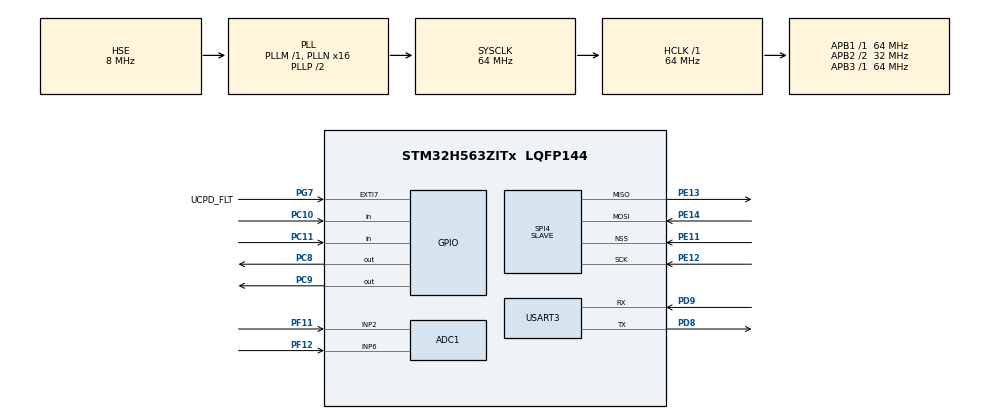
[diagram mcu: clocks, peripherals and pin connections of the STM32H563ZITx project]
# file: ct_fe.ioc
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ADC1.Channel-0\#ChannelRegularConversion=ADC_CHANNEL_2
ADC1.MonitoredBy-0\#ChannelRegularConversion=__NULL
ADC1.NbrOfConversionFlag=1
ADC1.OffsetNumber-0\#ChannelRegularConversion=ADC_OFFSET_NONE
ADC1.Rank-0\#ChannelRegularConversion=1
ADC1.SamplingTime-0\#ChannelRegularConversion=ADC_SAMPLETIME_2CYCLES_5
ADC1.master=1
BOOTPATH.BootPathName=LEGACY
BOOTPATH.UserSelectedBootPath=LEGACY
CORTEX_M33_NS.userName=CORTEX_M33
Mcu.Family=STM32H5
Mcu.Name=STM32H563ZITx
Mcu.Package=LQFP144
NVIC.PriorityGroup=NVIC_PRIORITYGROUP_4
NVIC.SPI4_IRQn=true\:0\:0\:false\:false\:true\:false\:true\:true\:true
NVIC.TIM12_IRQn=true\:15\:0\:false\:false\:true\:false\:false\:true\:true
NVIC.TimeBase=TIM12_IRQn
NVIC.TimeBaseIP=TIM12
NVIC.USART3_IRQn=true\:0\:0\:false\:false\:true\:false\:true\:true\:true
PA1.GPIO_Label=RMII_REF_CLK
PA1.GPIO_Mode=GPIO_MODE_AF_PP
PA1.GPIO_PuPd=GPIO_NOPULL
PA1.GPIO_Speed=GPIO_SPEED_FREQ_LOW
PA1.Signal=ETH_REF_CLK
PA11.GPIO_Label=USB_FS_N
PA11.Signal=USB_DM
PA12.GPIO_Label=USB_FS_P
PA12.Signal=USB_DP
PA13(JTMS/SWDIO).GPIO_Label=SWDIO
PA13(JTMS/SWDIO).Signal=DEBUG_JTMS-SWDIO
PA14(JTCK/SWCLK).GPIO_Label=SWCLK
PA14(JTCK/SWCLK).Signal=DEBUG_JTCK-SWCLK
PA15(JTDI).GPIO_Label=T_JTDI
PA15(JTDI).Signal=DEBUG_JTDI
PA2.GPIO_Label=RMII_MDIO
PA2.GPIO_Mode=GPIO_MODE_AF_PP
PA2.GPIO_PuPd=GPIO_NOPULL
PA2.GPIO_Speed=GPIO_SPEED_FREQ_LOW
PA2.Signal=ETH_MDIO
PA4.GPIO_Label=VBUS_SENSE
PA4.Signal=ADCx_INP18
PA7.GPIO_Label=RMII_CRS_DV
PA7.GPIO_Mode=GPIO_MODE_AF_PP
PA7.GPIO_PuPd=GPIO_NOPULL
PA7.GPIO_Speed=GPIO_SPEED_FREQ_LOW
PA7.Signal=ETH_CRS_DV
PA9.GPIO_Label=UCDP_DBn
PA9.Signal=UCPD1_DB1
PB13.GPIO_Label=UCPD_CC1
PB13.Signal=UCPD1_CC1
PB14.GPIO_Label=UCPD_CC2
PB14.Signal=UCPD1_CC2
PB15.GPIO_Label=RMII_TXD1
PB15.GPIO_Mode=GPIO_MODE_AF_PP
PB15.GPIO_PuPd=GPIO_NOPULL
PB15.GPIO_Speed=GPIO_SPEED_FREQ_LOW
PB15.Signal=ETH_TXD1
PB3(JTDO/TRACESWO).GPIO_Label=SWO
PB3(JTDO/TRACESWO).Signal=DEBUG_JTDO-SWO
PB6.GPIO_Label=ARD_D1_TX
PB6.Signal=LPUART1_TX
PB7.GPIO_Label=ARD_D0_RX
PB7.Signal=LPUART1_RX
PC1.GPIO_Label=RMII_MDC
PC1.GPIO_Mode=GPIO_MODE_AF_PP
PC1.GPIO_PuPd=GPIO_NOPULL
PC1.GPIO_Speed=GPIO_SPEED_FREQ_LOW
PC1.Signal=ETH_MDC
PC10.Signal=GPIO_Input
PC11.Signal=GPIO_Input
PC14-OSC32_IN(OSC32_IN).Mode=LSE-External-Oscillator
PC14-OSC32_IN(OSC32_IN).Signal=RCC_OSC32_IN
PC15-OSC32_OUT(OSC32_OUT).Mode=LSE-External-Oscillator
PC15-OSC32_OUT(OSC32_OUT).Signal=RCC_OSC32_OUT
PC4.GPIO_Label=RMII_RXD0
PC4.GPIO_Mode=GPIO_MODE_AF_PP
PC4.GPIO_PuPd=GPIO_NOPULL
PC4.GPIO_Speed=GPIO_SPEED_FREQ_LOW
PC4.Signal=ETH_RXD0
PC5.GPIO_Label=RMII_RXD1
PC5.GPIO_Mode=GPIO_MODE_AF_PP
PC5.GPIO_PuPd=GPIO_NOPULL
PC5.GPIO_Speed=GPIO_SPEED_FREQ_LOW
PC5.Signal=ETH_RXD1
PC8.Signal=GPIO_Output
PC9.Signal=GPIO_Output
PD8.Mode=Asynchronous
PD8.Signal=USART3_TX
PD9.Mode=Asynchronous
PD9.Signal=USART3_RX
PE11.GPIO_PuPd=GPIO_PULLUP
PE11.Mode=NSS_Signal_Hard_Input
PE11.Signal=SPI4_NSS
PE12.Mode=Full_Duplex_Slave
PE12.Signal=SPI4_SCK
PE13.Mode=Full_Duplex_Slave
PE13.Signal=SPI4_MISO
PE14.Mode=Full_Duplex_Slave
PE14.Signal=SPI4_MOSI
PE2.GPIO_Label=TRACE_CK
PE2.Signal=DEBUG_TRACECLK
PE3.GPIO_Label=TRACE_D0
PE3.Signal=DEBUG_TRACED0
PE4.GPIO_Label=TRACE_D1
PE4.Signal=DEBUG_TRACED1
PE5.GPIO_Label=TRACE_D2
PE5.Signal=DEBUG_TRACED2
PE6.GPIO_Label=TRACE_D3
PE6.Signal=DEBUG_TRACED3
PF11.Mode=IN2-Single-Ended
PF11.Signal=ADC1_INP2
PF12.Mode=IN6-Single-Ended
PF12.Signal=ADC1_INP6
PG11.GPIO_Label=RMII_TXT_EN
PG11.GPIO_Mode=GPIO_MODE_AF_PP
PG11.GPIO_PuPd=GPIO_NOPULL
PG11.GPIO_Speed=GPIO_SPEED_FREQ_LOW
PG11.Signal=ETH_TX_EN
PG13.GPIO_Label=RMI_TXD0
PG13.GPIO_Mode=GPIO_MODE_AF_PP
PG13.GPIO_PuPd=GPIO_NOPULL
PG13.GPIO_Speed=GPIO_SPEED_FREQ_LOW
PG13.Signal=ETH_TXD0
PG7.GPIO_Label=UCPD_FLT
PG7.Signal=GPXTI7
PH0-OSC_IN(PH0).GPIO_Label=STLK_MCO
PH0-OSC_IN(PH0).Mode=HSE-External-Clock-Source
PH0-OSC_IN(PH0).Signal=RCC_OSC_IN
ProjectManager.HeapSize=0x1000
ProjectManager.StackSize=0x1000
ProjectManager.TargetToolchain=STM32CubeIDE
RCC.ADCFreq_Value=64000000
RCC.AHBFreq_Value=64000000
RCC.APB1Freq_Value=64000000
RCC.APB1TimFreq_Value=64000000
RCC.APB2CLKDivider=RCC_HCLK_DIV2
RCC.APB2Freq_Value=32000000
RCC.APB2TimFreq_Value=64000000
RCC.APB3Freq_Value=64000000
RCC.CSI_VALUE=4000000
RCC.CortexFreq_Value=64000000
RCC.EPOD_VALUE=8000000
RCC.HCLKFreq_Value=64000000
RCC.HSE_VALUE=8000000
RCC.HSI48_VALUE=48000000
RCC.HSIDiv=RCC_HSI_DIV1
RCC.HSI_VALUE=64000000
RCC.LSIRC_VALUE=32000
RCC.PLLFRACN=0
RCC.PLLN=16
RCC.PLLSourceVirtual=RCC_PLL1_SOURCE_HSE
RCC.SYSCLKFreq_VALUE=64000000
RCC.SYSCLKSource=RCC_SYSCLKSOURCE_PLLCLK
RCC.USBFreq_Value=48000000
RCC.VCOOutputFreq_Value=128000000
SH.ADCx_INP18.0=ADC1_INP18
SPI4.DataSize=SPI_DATASIZE_8BIT
SPI4.Direction=SPI_DIRECTION_2LINES
SPI4.Mode=SPI_MODE_SLAVE
SPI4.VirtualNSS=VM_NSSHARD
SPI4.VirtualType=VM_SLAVE
USART3.VirtualMode-Asynchronous=VM_ASYNC
VP_BOOTPATH_VS_BOOTPATH.Mode=BP_Activate
VP_CORTEX_M33_NS_VS_Hclk.Mode=Hclk_Mode
VP_DCACHE1_VS_DCACHE.Mode=DCACHE_Activate
VP_ICACHE_VS_ICACHE.Mode=DirectMappedCache
VP_IWDG_VS_IWDG.Mode=IWDG_Activate
VP_MEMORYMAP_VS_MEMORYMAP.Mode=CurAppReg
VP_PWR_VS_DBSignals.Mode=DisableDeadBatterySignals
VP_PWR_VS_LPOM.Mode=PowerOptimisation
VP_PWR_VS_SECSignals.Mode=Security/Privilege
VP_SYS_VS_tim12.Mode=TIM12
VP_THREADX_VS_RTOSJjThreadXJjCoreJjDefault.Mode=Core_Default
board=NUCLEO-H563ZI

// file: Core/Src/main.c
/* USER CODE BEGIN Header */
/**
  ******************************************************************************
  * @file           : main.c
  * @brief          : Main program body
  ******************************************************************************
  * @attention
  *
  * Copyright (c) 2026 STMicroelectronics.
  * All rights reserved.
  *
  * This software is licensed under terms that can be found in the LICENSE file
  * in the root directory of this software component.
  * If no LICENSE file comes with this software, it is provided AS-IS.
  *
  ******************************************************************************
  */
/* USER CODE END Header */
#include "app_threadx.h"
#include "main.h"

/* USER CODE BEGIN Includes */
#include <stdio.h>
#include "stm32h5xx_nucleo.h"
#include "spi_regs.h"
#include "gpio_channels.h"
/* USER CODE END Includes */

ADC_HandleTypeDef hadc1;

DCACHE_HandleTypeDef hdcache1;

IWDG_HandleTypeDef hiwdg;

SPI_HandleTypeDef hspi4;

UART_HandleTypeDef huart3;

void SystemClock_Config(void);
static void MX_GPIO_Init(void);
static void MX_USART3_UART_Init(void);
static void MX_DCACHE1_Init(void);
static void MX_ICACHE_Init(void);
static void MX_IWDG_Init(void);
static void MX_SPI4_Init(void);
static void MX_ADC1_Init(void);

/* USER CODE BEGIN 0 */
// support printf
#ifdef __GNUC__
  /* With GCC/RAISONANCE, small printf (option LD Linker->Libraries->Small printf) calls __io_putchar() */
  #define PUTCHAR_PROTOTYPE int __io_putchar(int ch)
#else
  #define PUTCHAR_PROTOTYPE int fputc(int ch, FILE *f)
#endif /* __GNUC__ */

PUTCHAR_PROTOTYPE
{
    HAL_UART_Transmit(&huart3, (uint8_t *)&ch, 1, HAL_MAX_DELAY);
    return ch;
}

void print_reset_reason(void)
{
    uint32_t rsr = RCC->RSR;

    printf("\r\n===== RESET REASON: 0x%08lX =====\r\n", rsr);

    if (rsr & RCC_RSR_WWDGRSTF) printf("Window Watchdog Reset\r\n");
    if (rsr & RCC_RSR_IWDGRSTF) printf("Independent Watchdog Reset\r\n");
    if (rsr & RCC_RSR_SFTRSTF)  printf("Software Reset\r\n");
    if (rsr & RCC_RSR_BORRSTF)  printf("Power/Brown-Out Reset\r\n");
    if (rsr & RCC_RSR_PINRSTF)  printf("Pin Reset (NRST)\r\n");
    if (rsr & RCC_RSR_LPWRRSTF) printf("Low-Power Reset\r\n");

    __HAL_RCC_CLEAR_RESET_FLAGS();
}

/* USER CODE END 0 */

int main(void)
{

  /* MCU Configuration--------------------------------------------------------*/

  /* Reset of all peripherals, Initializes the Flash interface and the Systick. */
  HAL_Init();

  /* Configure the system clock */
  SystemClock_Config();

  /* Initialize all configured peripherals */
  MX_GPIO_Init();
  MX_USART3_UART_Init();
  MX_DCACHE1_Init();
  MX_ICACHE_Init();
  MX_IWDG_Init();
  MX_SPI4_Init();
  MX_ADC1_Init();
  /* USER CODE BEGIN 2 */

  printf("\r\n===== MCU BOOT =====\r\n");
  print_reset_reason();

  /* Initialize SPI4 slave register map */
  SpiRegs_Init();

  /* Initialize 32 channel P/N GPIO pairs (64 GPIOs) */
// I will do the init in ioc file later on  GpioChannels_Init();

  /* Initialize leds */
  BSP_LED_Init(LED_GREEN);
  BSP_LED_Init(LED_YELLOW);
  BSP_LED_Init(LED_RED);

  /* USER CODE END 2 */

  MX_ThreadX_Init();

  /* We should never get here as control is now taken by the scheduler */

  /* Infinite loop */
  /* USER CODE BEGIN WHILE */
  while (1)
  {
#if 0
    /* -- Sample board code for User push-button in interrupt mode ---- */
    if (BspButtonState == BUTTON_PRESSED)
    {
      /* Update button state */
      BspButtonState = BUTTON_RELEASED;
      /* -- Sample board code to toggle leds ---- */
      BSP_LED_Toggle(LED_GREEN);
      BSP_LED_Toggle(LED_YELLOW);
      BSP_LED_Toggle(LED_RED);
      /* ..... Perform your action ..... */
    }
#endif
    /* USER CODE END WHILE */

  }
}

void SystemClock_Config(void)
{
  RCC_OscInitTypeDef RCC_OscInitStruct = {0};
  RCC_ClkInitTypeDef RCC_ClkInitStruct = {0};

  /** Configure the main internal regulator output voltage
  */
  __HAL_PWR_VOLTAGESCALING_CONFIG(PWR_REGULATOR_VOLTAGE_SCALE3);

  while(!__HAL_PWR_GET_FLAG(PWR_FLAG_VOSRDY)) {}

  /** Initializes the RCC Oscillators according to the specified parameters
  * in the RCC_OscInitTypeDef structure.
  */
  RCC_OscInitStruct.OscillatorType = RCC_OSCILLATORTYPE_LSI|RCC_OSCILLATORTYPE_HSE;
  RCC_OscInitStruct.HSEState = RCC_HSE_BYPASS;
  RCC_OscInitStruct.LSIState = RCC_LSI_ON;
  RCC_OscInitStruct.PLL.PLLState = RCC_PLL_ON;
  RCC_OscInitStruct.PLL.PLLSource = RCC_PLL1_SOURCE_HSE;
  RCC_OscInitStruct.PLL.PLLM = 1;
  RCC_OscInitStruct.PLL.PLLN = 16;
  RCC_OscInitStruct.PLL.PLLP = 2;
  RCC_OscInitStruct.PLL.PLLQ = 2;
  RCC_OscInitStruct.PLL.PLLR = 2;
  RCC_OscInitStruct.PLL.PLLRGE = RCC_PLL1_VCIRANGE_3;
  RCC_OscInitStruct.PLL.PLLVCOSEL = RCC_PLL1_VCORANGE_WIDE;
  RCC_OscInitStruct.PLL.PLLFRACN = 0;
  if (HAL_RCC_OscConfig(&RCC_OscInitStruct) != HAL_OK)
  {
    Error_Handler();
  }

  /** Initializes the CPU, AHB and APB buses clocks
  */
  RCC_ClkInitStruct.ClockType = RCC_CLOCKTYPE_HCLK|RCC_CLOCKTYPE_SYSCLK
                              |RCC_CLOCKTYPE_PCLK1|RCC_CLOCKTYPE_PCLK2
                              |RCC_CLOCKTYPE_PCLK3;
  RCC_ClkInitStruct.SYSCLKSource = RCC_SYSCLKSOURCE_PLLCLK;
  RCC_ClkInitStruct.AHBCLKDivider = RCC_SYSCLK_DIV1;
  RCC_ClkInitStruct.APB1CLKDivider = RCC_HCLK_DIV1;
  RCC_ClkInitStruct.APB2CLKDivider = RCC_HCLK_DIV2;
  RCC_ClkInitStruct.APB3CLKDivider = RCC_HCLK_DIV1;

  if (HAL_RCC_ClockConfig(&RCC_ClkInitStruct, FLASH_LATENCY_3) != HAL_OK)
  {
    Error_Handler();
  }

  /** Configure the programming delay
  */
  __HAL_FLASH_SET_PROGRAM_DELAY(FLASH_PROGRAMMING_DELAY_1);
}

static void MX_ADC1_Init(void)
{

  ADC_ChannelConfTypeDef sConfig = {0};

  /** Common config
  */
  hadc1.Instance = ADC1;
  hadc1.Init.ClockPrescaler = ADC_CLOCK_ASYNC_DIV1;
  hadc1.Init.Resolution = ADC_RESOLUTION_12B;
  hadc1.Init.DataAlign = ADC_DATAALIGN_RIGHT;
  hadc1.Init.ScanConvMode = ADC_SCAN_DISABLE;
  hadc1.Init.EOCSelection = ADC_EOC_SINGLE_CONV;
  hadc1.Init.LowPowerAutoWait = DISABLE;
  hadc1.Init.ContinuousConvMode = DISABLE;
  hadc1.Init.NbrOfConversion = 1;
  hadc1.Init.DiscontinuousConvMode = DISABLE;
  hadc1.Init.ExternalTrigConv = ADC_SOFTWARE_START;
  hadc1.Init.ExternalTrigConvEdge = ADC_EXTERNALTRIGCONVEDGE_NONE;
  hadc1.Init.DMAContinuousRequests = DISABLE;
  hadc1.Init.SamplingMode = ADC_SAMPLING_MODE_NORMAL;
  hadc1.Init.Overrun = ADC_OVR_DATA_PRESERVED;
  hadc1.Init.OversamplingMode = DISABLE;
  if (HAL_ADC_Init(&hadc1) != HAL_OK)
  {
    Error_Handler();
  }

  /** Configure Regular Channel
  */
  sConfig.Channel = ADC_CHANNEL_2;
  sConfig.Rank = ADC_REGULAR_RANK_1;
  sConfig.SamplingTime = ADC_SAMPLETIME_2CYCLES_5;
  sConfig.SingleDiff = ADC_SINGLE_ENDED;
  sConfig.OffsetNumber = ADC_OFFSET_NONE;
  sConfig.Offset = 0;
  if (HAL_ADC_ConfigChannel(&hadc1, &sConfig) != HAL_OK)
  {
    Error_Handler();
  }

}

static void MX_DCACHE1_Init(void)
{

  hdcache1.Instance = DCACHE1;
  hdcache1.Init.ReadBurstType = DCACHE_READ_BURST_WRAP;
  if (HAL_DCACHE_Init(&hdcache1) != HAL_OK)
  {
    Error_Handler();
  }

}

static void MX_ICACHE_Init(void)
{

  /** Enable instruction cache in 1-way (direct mapped cache)
  */
  if (HAL_ICACHE_ConfigAssociativityMode(ICACHE_1WAY) != HAL_OK)
  {
    Error_Handler();
  }
  if (HAL_ICACHE_Enable() != HAL_OK)
  {
    Error_Handler();
  }

}

static void MX_IWDG_Init(void)
{

  /* USER CODE BEGIN IWDG_Init 0 */
  return; // disable watchdog for testing...............TBD later
  /* USER CODE END IWDG_Init 0 */

  hiwdg.Instance = IWDG;
  hiwdg.Init.Prescaler = IWDG_PRESCALER_4;
  hiwdg.Init.Window = 4095;
  hiwdg.Init.Reload = 4095;
  hiwdg.Init.EWI = 0;
  if (HAL_IWDG_Init(&hiwdg) != HAL_OK)
  {
    Error_Handler();
  }

}

static void MX_SPI4_Init(void)
{

  /* SPI4 parameter configuration*/
  hspi4.Instance = SPI4;
  hspi4.Init.Mode = SPI_MODE_SLAVE;
  hspi4.Init.Direction = SPI_DIRECTION_2LINES;
  hspi4.Init.DataSize = SPI_DATASIZE_8BIT;
  hspi4.Init.CLKPolarity = SPI_POLARITY_LOW;
  hspi4.Init.CLKPhase = SPI_PHASE_1EDGE;
  hspi4.Init.NSS = SPI_NSS_HARD_INPUT;
  hspi4.Init.FirstBit = SPI_FIRSTBIT_MSB;
  hspi4.Init.TIMode = SPI_TIMODE_DISABLE;
  hspi4.Init.CRCCalculation = SPI_CRCCALCULATION_DISABLE;
  hspi4.Init.CRCPolynomial = 0x7;
  hspi4.Init.NSSPMode = SPI_NSS_PULSE_DISABLE;
  hspi4.Init.NSSPolarity = SPI_NSS_POLARITY_LOW;
  hspi4.Init.FifoThreshold = SPI_FIFO_THRESHOLD_01DATA;
  hspi4.Init.MasterSSIdleness = SPI_MASTER_SS_IDLENESS_00CYCLE;
  hspi4.Init.MasterInterDataIdleness = SPI_MASTER_INTERDATA_IDLENESS_00CYCLE;
  hspi4.Init.MasterReceiverAutoSusp = SPI_MASTER_RX_AUTOSUSP_DISABLE;
  hspi4.Init.MasterKeepIOState = SPI_MASTER_KEEP_IO_STATE_DISABLE;
  hspi4.Init.IOSwap = SPI_IO_SWAP_DISABLE;
  hspi4.Init.ReadyMasterManagement = SPI_RDY_MASTER_MANAGEMENT_INTERNALLY;
  hspi4.Init.ReadyPolarity = SPI_RDY_POLARITY_HIGH;
  if (HAL_SPI_Init(&hspi4) != HAL_OK)
  {
    Error_Handler();
  }

}

static void MX_USART3_UART_Init(void)
{

  huart3.Instance = USART3;
  huart3.Init.BaudRate = 115200;
  huart3.Init.WordLength = UART_WORDLENGTH_8B;
  huart3.Init.StopBits = UART_STOPBITS_1;
  huart3.Init.Parity = UART_PARITY_NONE;
  huart3.Init.Mode = UART_MODE_TX_RX;
  huart3.Init.HwFlowCtl = UART_HWCONTROL_NONE;
  huart3.Init.OverSampling = UART_OVERSAMPLING_16;
  huart3.Init.OneBitSampling = UART_ONE_BIT_SAMPLE_DISABLE;
  huart3.Init.ClockPrescaler = UART_PRESCALER_DIV1;
  huart3.AdvancedInit.AdvFeatureInit = UART_ADVFEATURE_NO_INIT;
  if (HAL_UART_Init(&huart3) != HAL_OK)
  {
    Error_Handler();
  }
  if (HAL_UARTEx_SetTxFifoThreshold(&huart3, UART_TXFIFO_THRESHOLD_1_8) != HAL_OK)
  {
    Error_Handler();
  }
  if (HAL_UARTEx_SetRxFifoThreshold(&huart3, UART_RXFIFO_THRESHOLD_1_8) != HAL_OK)
  {
    Error_Handler();
  }
  if (HAL_UARTEx_DisableFifoMode(&huart3) != HAL_OK)
  {
    Error_Handler();
  }

}

static void MX_GPIO_Init(void)
{
  GPIO_InitTypeDef GPIO_InitStruct = {0};

  /* GPIO Ports Clock Enable */
  __HAL_RCC_GPIOE_CLK_ENABLE();
  __HAL_RCC_GPIOC_CLK_ENABLE();
  __HAL_RCC_GPIOH_CLK_ENABLE();
  __HAL_RCC_GPIOA_CLK_ENABLE();
  __HAL_RCC_GPIOF_CLK_ENABLE();
  __HAL_RCC_GPIOB_CLK_ENABLE();
  __HAL_RCC_GPIOD_CLK_ENABLE();
  __HAL_RCC_GPIOG_CLK_ENABLE();

  /*Configure GPIO pin Output Level */
  HAL_GPIO_WritePin(GPIOC, GPIO_PIN_8|GPIO_PIN_9, GPIO_PIN_RESET);

  /*Configure GPIO pins : RMII_MDC_Pin RMII_RXD0_Pin RMII_RXD1_Pin */
  GPIO_InitStruct.Pin = RMII_MDC_Pin|RMII_RXD0_Pin|RMII_RXD1_Pin;
  GPIO_InitStruct.Mode = GPIO_MODE_AF_PP;
  GPIO_InitStruct.Pull = GPIO_NOPULL;
  GPIO_InitStruct.Speed = GPIO_SPEED_FREQ_HIGH;
  GPIO_InitStruct.Alternate = GPIO_AF11_ETH;
  HAL_GPIO_Init(GPIOC, &GPIO_InitStruct);

  /*Configure GPIO pins : RMII_REF_CLK_Pin RMII_MDIO_Pin RMII_CRS_DV_Pin */
  GPIO_InitStruct.Pin = RMII_REF_CLK_Pin|RMII_MDIO_Pin|RMII_CRS_DV_Pin;
  GPIO_InitStruct.Mode = GPIO_MODE_AF_PP;
  GPIO_InitStruct.Pull = GPIO_NOPULL;
  GPIO_InitStruct.Speed = GPIO_SPEED_FREQ_HIGH;
  GPIO_InitStruct.Alternate = GPIO_AF11_ETH;
  HAL_GPIO_Init(GPIOA, &GPIO_InitStruct);

  /*Configure GPIO pins : UCPD_CC1_Pin UCPD_CC2_Pin */
  GPIO_InitStruct.Pin = UCPD_CC1_Pin|UCPD_CC2_Pin;
  GPIO_InitStruct.Mode = GPIO_MODE_ANALOG;
  GPIO_InitStruct.Pull = GPIO_NOPULL;
  HAL_GPIO_Init(GPIOB, &GPIO_InitStruct);

  /*Configure GPIO pin : RMII_TXD1_Pin */
  GPIO_InitStruct.Pin = RMII_TXD1_Pin;
  GPIO_InitStruct.Mode = GPIO_MODE_AF_PP;
  GPIO_InitStruct.Pull = GPIO_NOPULL;
  GPIO_InitStruct.Speed = GPIO_SPEED_FREQ_HIGH;
  GPIO_InitStruct.Alternate = GPIO_AF11_ETH;
  HAL_GPIO_Init(RMII_TXD1_GPIO_Port, &GPIO_InitStruct);

  /*Configure GPIO pin : UCPD_FLT_Pin */
  GPIO_InitStruct.Pin = UCPD_FLT_Pin;
  GPIO_InitStruct.Mode = GPIO_MODE_IT_RISING;
  GPIO_InitStruct.Pull = GPIO_NOPULL;
  HAL_GPIO_Init(UCPD_FLT_GPIO_Port, &GPIO_InitStruct);

  /*Configure GPIO pins : PC8 PC9 */
  GPIO_InitStruct.Pin = GPIO_PIN_8|GPIO_PIN_9;
  GPIO_InitStruct.Mode = GPIO_MODE_OUTPUT_PP;
  GPIO_InitStruct.Pull = GPIO_NOPULL;
  GPIO_InitStruct.Speed = GPIO_SPEED_FREQ_LOW;
  HAL_GPIO_Init(GPIOC, &GPIO_InitStruct);

  /*Configure GPIO pins : USB_FS_N_Pin USB_FS_P_Pin */
  GPIO_InitStruct.Pin = USB_FS_N_Pin|USB_FS_P_Pin;
  GPIO_InitStruct.Mode = GPIO_MODE_AF_PP;
  GPIO_InitStruct.Pull = GPIO_NOPULL;
  GPIO_InitStruct.Speed = GPIO_SPEED_FREQ_LOW;
  GPIO_InitStruct.Alternate = GPIO_AF10_USB;
  HAL_GPIO_Init(GPIOA, &GPIO_InitStruct);

  /*Configure GPIO pins : PC10 PC11 */
  GPIO_InitStruct.Pin = GPIO_PIN_10|GPIO_PIN_11;
  GPIO_InitStruct.Mode = GPIO_MODE_INPUT;
  GPIO_InitStruct.Pull = GPIO_NOPULL;
  HAL_GPIO_Init(GPIOC, &GPIO_InitStruct);

  /*Configure GPIO pins : RMII_TXT_EN_Pin RMI_TXD0_Pin */
  GPIO_InitStruct.Pin = RMII_TXT_EN_Pin|RMI_TXD0_Pin;
  GPIO_InitStruct.Mode = GPIO_MODE_AF_PP;
  GPIO_InitStruct.Pull = GPIO_NOPULL;
  GPIO_InitStruct.Speed = GPIO_SPEED_FREQ_HIGH;
  GPIO_InitStruct.Alternate = GPIO_AF11_ETH;
  HAL_GPIO_Init(GPIOG, &GPIO_InitStruct);

  /*Configure GPIO pins : ARD_D1_TX_Pin ARD_D0_RX_Pin */
  GPIO_InitStruct.Pin = ARD_D1_TX_Pin|ARD_D0_RX_Pin;
  GPIO_InitStruct.Mode = GPIO_MODE_AF_PP;
  GPIO_InitStruct.Pull = GPIO_NOPULL;
  GPIO_InitStruct.Speed = GPIO_SPEED_FREQ_LOW;
  GPIO_InitStruct.Alternate = GPIO_AF8_LPUART1;
  HAL_GPIO_Init(GPIOB, &GPIO_InitStruct);

}

/* USER CODE BEGIN 4 */

void StartWDTask(ULONG argument)
{
    uint8_t led_state = 0; // 0=green, 1=yellow, 2=red

    for (;;)
    {
        // TBD replace the LED off and on with the APIs gpio_led1_on, gpio_led1_off for our HW

        // Turn off all LEDs
        BSP_LED_Off(LED_GREEN);
        BSP_LED_Off(LED_YELLOW);
        BSP_LED_Off(LED_RED);

        // Turn on the current LED based on state
        switch(led_state)
        {
            case 0:
                BSP_LED_On(LED_GREEN);
                break;
            case 1:
                BSP_LED_On(LED_YELLOW);
                break;
            case 2:
                BSP_LED_On(LED_RED);
                break;
        }

        // Move to next LED in sequence
        led_state = (led_state + 1) % 3;

        // Refresh the independent watchdog
//        HAL_IWDG_Refresh(&hiwdg);

        // Wait 500ms before switching
        tx_thread_sleep(50);
    }
}

/* USER CODE END 4 */

void HAL_TIM_PeriodElapsedCallback(TIM_HandleTypeDef *htim)
{
  if (htim->Instance == TIM12)
  {
    HAL_IncTick();
  }
}

void Error_Handler(void)
{
  __disable_irq();
  while (1)
  {
  }
}
